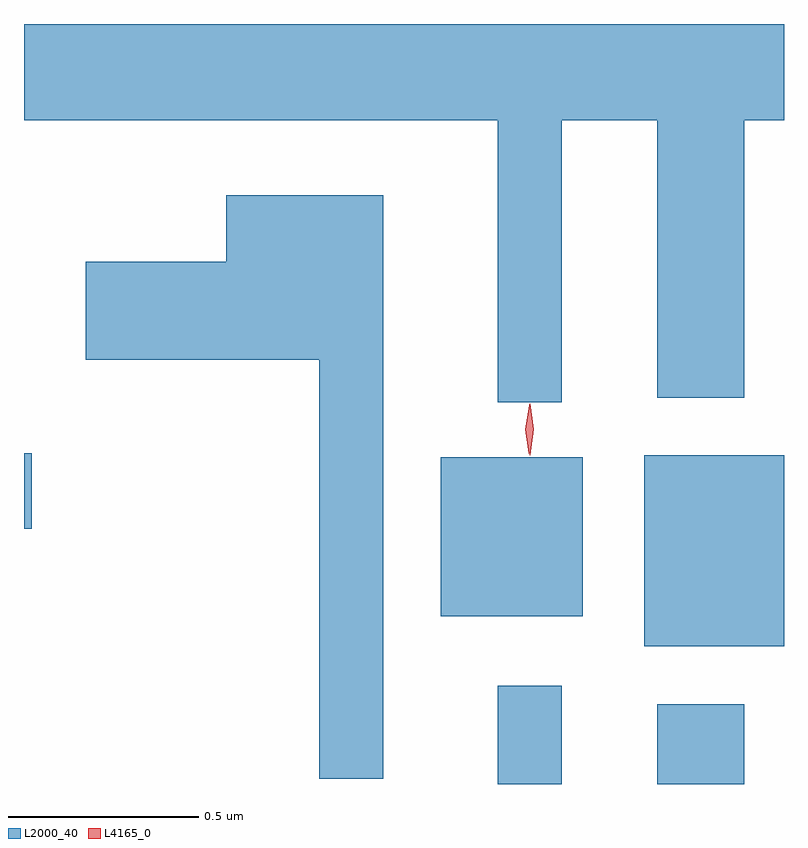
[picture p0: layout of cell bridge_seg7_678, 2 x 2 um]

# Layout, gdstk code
import gdstk
lib = gdstk.Library(unit=1e-6, precision=1e-09)
def R(c, l, rs):  # rectangles x0, y0, x1, y1
    for r in rs: c.add(gdstk.rectangle(r[:2], r[2:], *l))
def P(c, l, *ps):  # polygons
    for p in ps: c.add(gdstk.Polygon(p, *l))
L2000_40 = (2000, 40)
L4165_0 = (4165, 0)

bridge_seg7_678 = lib.new_cell('bridge_seg7_678')
R(bridge_seg7_678, L2000_40, [(920.861,1694.809,921.029,1695.068), (921.281,1694.809,921.509,1695.019), (921.246,1695.171,921.614,1695.674), (920.711,1695.251,921.084,1695.669), (919.614,1695.481,919.634,1695.679)])
P(bridge_seg7_678, L2000_40, [(921.029,1696.556),(921.281,1696.556),(921.281,1695.826),(921.509,1695.826),(921.509,1696.556),(921.614,1696.556),(921.614,1696.809),(919.614,1696.809),(919.614,1696.556),(920.861,1696.556),(920.861,1695.813),(921.029,1695.813)],
  [(920.559,1696.359),(920.146,1696.359),(920.146,1696.184),(919.776,1696.184),(919.776,1695.926),(920.391,1695.926),(920.391,1694.823),(920.559,1694.823)])
P(bridge_seg7_678, L4165_0, [(920.942,1695.678),(920.942,1695.679),(920.933,1695.743),(920.944,1695.806),(920.944,1695.807),(920.945,1695.806),(920.953,1695.742),(920.943,1695.679)],
  [(920.945,1695.674),(920.945,1695.674),(920.935,1695.742),(920.945,1695.81),(920.945,1695.81),(920.946,1695.81),(920.955,1695.742),(920.946,1695.674)])

lib.write_gds('bridge_seg7_678.gds')
